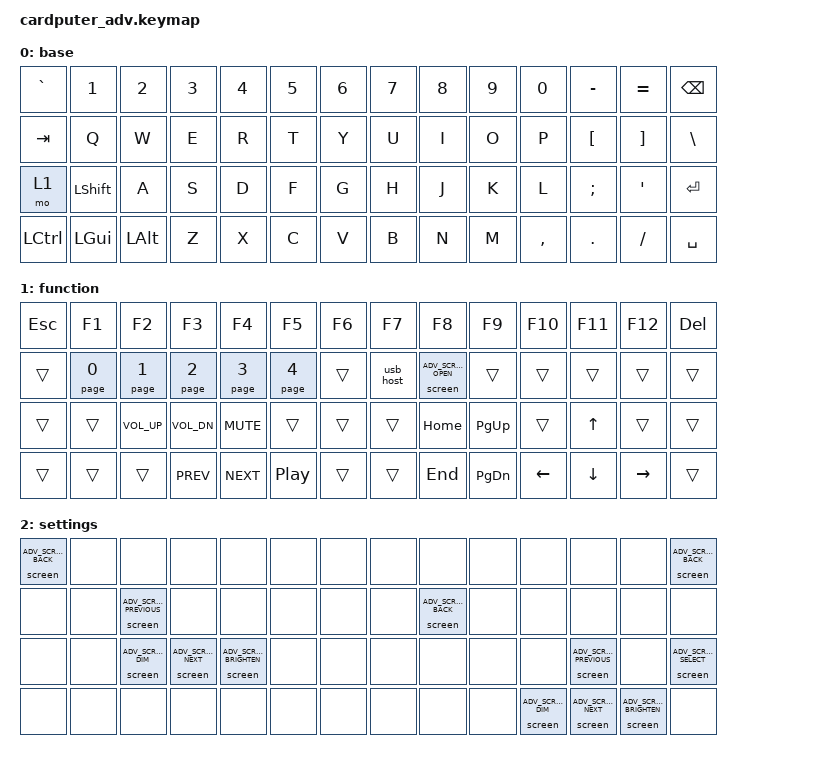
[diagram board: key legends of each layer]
#include <behaviors.dtsi>
#include <dt-bindings/zmk/keys.h>
#include <dt-bindings/zmk/bt.h>
#include <dt-bindings/adv_screen.h>
/ {
    behaviors {
        page: page { compatible = "zmk,behavior-adv-page"; #binding-cells = <1>; };
        usb_host: usb_host { compatible = "zmk,behavior-usb-host"; #binding-cells = <0>; };
        screen: screen { compatible = "zmk,behavior-adv-screen"; #binding-cells = <1>; };
    };
    keymap {
        compatible = "zmk,keymap";
        base {
            bindings = <
                &kp GRAVE &kp N1 &kp N2 &kp N3 &kp N4 &kp N5 &kp N6 &kp N7 &kp N8 &kp N9 &kp N0 &kp MINUS &kp EQUAL &kp BSPC
                &kp TAB &kp Q &kp W &kp E &kp R &kp T &kp Y &kp U &kp I &kp O &kp P &kp LBKT &kp RBKT &kp BSLH
                &mo 1 &kp LSHFT &kp A &kp S &kp D &kp F &kp G &kp H &kp J &kp K &kp L &kp SEMI &kp SQT &kp RET
                &kp LCTRL &kp LGUI &kp LALT &kp Z &kp X &kp C &kp V &kp B &kp N &kp M &kp COMMA &kp DOT &kp FSLH &kp SPACE
            >;
        };
        function {
            bindings = <
                &kp ESC &kp F1 &kp F2 &kp F3 &kp F4 &kp F5 &kp F6 &kp F7 &kp F8 &kp F9 &kp F10 &kp F11 &kp F12 &kp DEL
                &trans &page 0 &page 1 &page 2 &page 3 &page 4 &trans &usb_host &screen ADV_SCREEN_OPEN &trans &trans &trans &trans &trans
                &trans &trans &kp C_VOL_UP &kp C_VOL_DN &kp C_MUTE &trans &trans &trans &kp HOME &kp PG_UP &trans &kp UP &trans &trans
                &trans &trans &trans &kp C_PREV &kp C_NEXT &kp C_PLAY_PAUSE &trans &trans &kp END &kp PG_DN &kp LEFT &kp DOWN &kp RIGHT &trans
            >;
        };
        settings {
            /* Every key is local or blocked. No transparent Bluetooth/USB bindings. */
            bindings = <
                &screen ADV_SCREEN_BACK &none &none &none &none &none &none &none &none &none &none &none &none &screen ADV_SCREEN_BACK
                &none &none &screen ADV_SCREEN_PREVIOUS &none &none &none &none &none &screen ADV_SCREEN_BACK &none &none &none &none &none
                &none &none &screen ADV_SCREEN_DIM &screen ADV_SCREEN_NEXT &screen ADV_SCREEN_BRIGHTEN &none &none &none &none &none &none &screen ADV_SCREEN_PREVIOUS &none &screen ADV_SCREEN_SELECT
                &none &none &none &none &none &none &none &none &none &none &screen ADV_SCREEN_DIM &screen ADV_SCREEN_NEXT &screen ADV_SCREEN_BRIGHTEN &none
            >;
        };
    };
};
